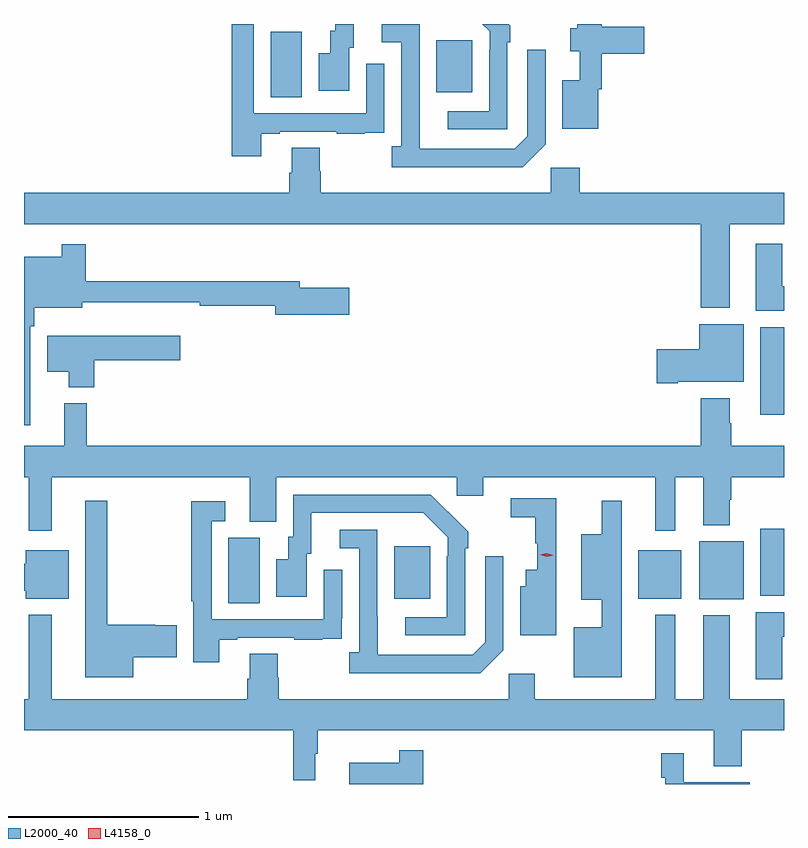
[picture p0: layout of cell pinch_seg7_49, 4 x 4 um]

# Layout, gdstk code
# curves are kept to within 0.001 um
import gdstk
lib = gdstk.Library(unit=1e-6, precision=1e-09)
def R(c, l, rs):  # rectangles x0, y0, x1, y1
    for r in rs: c.add(gdstk.rectangle(r[:2], r[2:], *l))
def P(c, l, *ps):  # polygons
    for p in ps: c.add(gdstk.Polygon(p, *l))
L2000_40 = (2000, 40)
L4158_0 = (4158, 0)

pinch_seg7_49 = lib.new_cell('pinch_seg7_49')
R(pinch_seg7_49, L2000_40, [(976.73,1063.888,976.894,1064.232), (979.208,1063.91,979.441,1064.215), (977.603,1063.913,977.791,1064.188), (978.887,1063.913,979.114,1064.167), (979.529,1063.928,979.654,1064.281), (979.529,1064.88,979.654,1065.34), (976.952,1066.552,977.116,1066.896), (977.825,1066.577,978.013,1066.852)])
P(pinch_seg7_49, L2000_40, [(978.399,1066.305),(978.399,1066.801),(978.303,1066.801),(978.303,1066.347),(978.237,1066.281),(977.737,1066.281),(977.736,1066.937),(977.538,1066.937),(977.538,1066.842),(977.64,1066.842),(977.64,1066.294),(977.589,1066.294),(977.589,1066.184),(978.278,1066.184)],
  [(977.365,1066.812),(977.389,1066.812),(977.389,1066.937),(977.292,1066.937),(977.292,1066.902),(977.267,1066.902),(977.267,1066.783),(977.204,1066.783),(977.204,1066.587),(977.365,1066.587)],
  [(978.198,1066.841),(978.213,1066.841),(978.213,1066.929),(978.205,1066.937),(978.067,1066.937),(978.105,1066.899),(978.105,1066.799),(978.102,1066.799),(978.102,1066.479),(977.883,1066.479),(977.883,1066.383),(978.198,1066.383)],
  [(978.676,1066.593),(978.695,1066.593),(978.695,1066.781),(978.919,1066.781),(978.919,1066.923),(978.695,1066.923),(978.695,1066.937),(978.567,1066.937),(978.567,1066.915),(978.53,1066.915),(978.53,1066.793),(978.578,1066.793),(978.578,1066.642),(978.488,1066.642),(978.488,1066.385),(978.676,1066.385)],
  [(976.903,1066.359),(976.999,1066.359),(976.999,1066.371),(977.299,1066.371),(977.299,1066.359),(977.447,1066.359),(977.447,1066.365),(977.549,1066.365),(977.549,1066.474),(977.55,1066.474),(977.55,1066.729),(977.454,1066.729),(977.454,1066.467),(976.863,1066.467),(976.863,1066.937),(976.747,1066.937),(976.747,1066.242),(976.903,1066.242)],
  [(979.217,1065.443),(979.369,1065.443),(979.369,1065.884),(979.654,1065.884),(979.654,1066.048),(978.578,1066.048),(978.578,1066.18),(978.426,1066.18),(978.426,1066.048),(977.216,1066.048),(977.216,1066.161),(977.211,1066.161),(977.211,1066.286),(977.063,1066.286),(977.063,1066.154),(977.051,1066.154),(977.051,1066.048),(975.654,1066.048),(975.654,1065.884),(979.217,1065.884)],
  [(979.654,1065.556),(979.645,1065.556),(979.645,1065.781),(979.505,1065.781),(979.505,1065.428),(979.654,1065.428)],
  [(975.687,1065.347),(975.707,1065.347),(975.707,1065.443),(975.961,1065.443),(975.961,1065.473),(976.58,1065.473),(976.58,1065.454),(976.976,1065.454),(976.976,1065.407),(977.365,1065.407),(977.365,1065.549),(977.104,1065.549),(977.104,1065.583),(975.98,1065.583),(975.98,1065.778),(975.852,1065.778),(975.852,1065.712),(975.654,1065.712),(975.654,1064.826),(975.687,1064.826)],
  [(979.096,1065.053),(979.441,1065.053),(979.441,1065.358),(979.208,1065.358),(979.208,1065.224),(978.984,1065.224),(978.984,1065.046),(979.096,1065.046)],
  [(976.025,1065.166),(976.477,1065.166),(976.477,1065.295),(975.776,1065.295),(975.776,1065.107),(975.89,1065.107),(975.89,1065.026),(976.025,1065.026)],
  [(975.654,1064.552),(975.678,1064.552),(975.678,1064.271),(975.799,1064.271),(975.799,1064.552),(976.841,1064.552),(976.841,1064.317),(976.981,1064.317),(976.981,1064.552),(977.931,1064.552),(977.931,1064.454),(978.07,1064.454),(978.07,1064.552),(978.977,1064.552),(978.977,1064.271),(979.081,1064.271),(979.081,1064.552),(979.229,1064.552),(979.229,1064.3),(979.369,1064.3),(979.369,1064.432),(979.377,1064.432),(979.377,1064.552),(979.654,1064.552),(979.654,1064.716),(979.377,1064.716),(979.377,1064.837),(979.369,1064.837),(979.369,1064.968),(979.217,1064.968),(979.217,1064.716),(975.983,1064.716),(975.983,1064.941),(975.866,1064.941),(975.866,1064.716),(975.654,1064.716)],
  [(977.976,1064.177),(977.991,1064.177),(977.991,1064.265),(977.794,1064.46),(977.07,1064.46),(977.07,1064.238),(977.045,1064.238),(977.045,1064.119),(976.982,1064.119),(976.982,1063.923),(977.143,1063.923),(977.143,1064.148),(977.167,1064.148),(977.167,1064.364),(977.755,1064.364),(977.883,1064.235),(977.883,1064.135),(977.88,1064.135),(977.88,1063.815),(977.661,1063.815),(977.661,1063.719),(977.976,1063.719)],
  [(978.454,1064.442),(978.216,1064.442),(978.216,1064.341),(978.345,1064.341),(978.345,1064.205),(978.356,1064.205),(978.356,1064.065),(978.296,1064.065),(978.296,1063.978),(978.266,1063.978),(978.266,1063.721),(978.454,1063.721)],
  [(978.799,1064.428),(978.695,1064.428),(978.695,1064.251),(978.587,1064.251),(978.587,1063.907),(978.695,1063.907),(978.695,1063.762),(978.548,1063.762),(978.548,1063.499),(978.799,1063.499)],
  [(976.228,1063.604),(976.459,1063.604),(976.459,1063.773),(976.346,1063.773),(976.346,1063.775),(976.091,1063.775),(976.091,1064.428),(975.977,1064.428),(975.977,1063.499),(976.228,1063.499)],
  [(976.681,1063.695),(976.777,1063.695),(976.777,1063.707),(977.077,1063.707),(977.077,1063.695),(977.225,1063.695),(977.225,1063.701),(977.327,1063.701),(977.327,1063.81),(977.328,1063.81),(977.328,1064.065),(977.232,1064.065),(977.232,1063.803),(976.641,1063.803),(976.641,1064.319),(976.714,1064.319),(976.714,1064.425),(976.533,1064.425),(976.533,1063.9),(976.545,1063.9),(976.545,1063.578),(976.681,1063.578)],
  [(978.177,1063.641),(978.177,1064.137),(978.081,1064.137),(978.081,1063.683),(978.015,1063.617),(977.515,1063.617),(977.514,1064.274),(977.316,1064.274),(977.316,1064.178),(977.418,1064.178),(977.418,1063.63),(977.367,1063.63),(977.367,1063.52),(978.056,1063.52)],
  [(975.889,1064.167),(975.662,1064.167),(975.662,1064.097),(975.654,1064.097),(975.654,1063.955),(975.662,1063.955),(975.662,1063.913),(975.889,1063.913)],
  [(979.645,1063.712),(979.654,1063.712),(979.654,1063.84),(979.505,1063.84),(979.505,1063.488),(979.645,1063.488)],
  [(977.188,1063.097),(977.2,1063.097),(977.2,1063.22),(979.283,1063.22),(979.283,1063.03),(979.431,1063.03),(979.431,1063.22),(979.654,1063.22),(979.654,1063.384),(979.369,1063.384),(979.369,1063.825),(979.229,1063.825),(979.229,1063.384),(979.081,1063.384),(979.081,1063.828),(978.977,1063.828),(978.977,1063.384),(978.343,1063.384),(978.343,1063.516),(978.204,1063.516),(978.204,1063.384),(976.994,1063.384),(976.994,1063.497),(976.989,1063.497),(976.989,1063.622),(976.841,1063.622),(976.841,1063.49),(976.829,1063.49),(976.829,1063.384),(975.799,1063.384),(975.799,1063.828),(975.678,1063.828),(975.678,1063.384),(975.654,1063.384),(975.654,1063.22),(977.071,1063.22),(977.071,1062.957),(977.188,1062.957)],
  [(977.756,1063.114),(977.628,1063.114),(977.628,1063.048),(977.366,1063.048),(977.366,1062.937),(977.756,1062.937)],
  [(979.475,1062.945),(979.126,1062.945),(979.126,1063.099),(979.009,1063.099),(979.009,1062.969),(979.029,1062.969),(979.029,1062.937),(979.475,1062.937)])
P(pinch_seg7_49, L4158_0, [(978.404,1064.132),(978.371,1064.144),(978.371,1064.144),(978.371,1064.144),(978.405,1064.152),(978.439,1064.14),(978.439,1064.14),(978.439,1064.14)])

lib.write_gds('pinch_seg7_49.gds')
